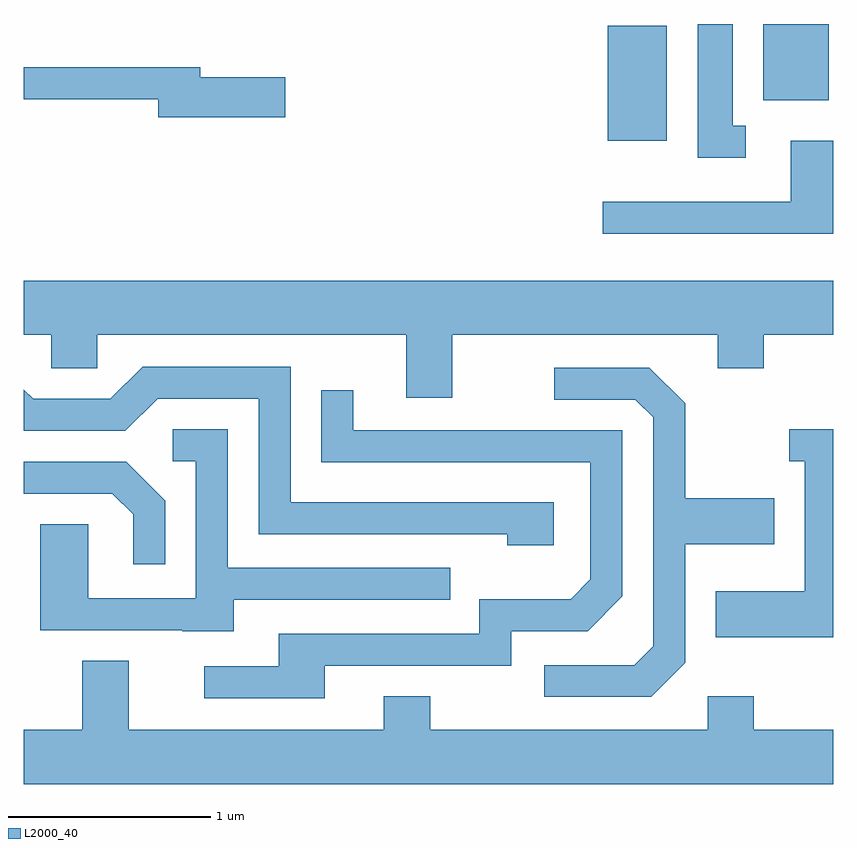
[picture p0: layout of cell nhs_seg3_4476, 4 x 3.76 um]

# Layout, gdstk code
import gdstk
lib = gdstk.Library(unit=1e-6, precision=1e-09)
def R(c, l, rs):  # rectangles x0, y0, x1, y1
    for r in rs: c.add(gdstk.rectangle(r[:2], r[2:], *l))
def P(c, l, *ps):  # polygons
    for p in ps: c.add(gdstk.Polygon(p, *l))
L2000_40 = (2000, 40)

nhs_seg3_4476 = lib.new_cell('nhs_seg3_4476')
R(nhs_seg3_4476, L2000_40, [(318.496,1231.316,318.789,1231.884), (319.266,1231.516,319.589,1231.892)])
P(nhs_seg3_4476, L2000_40, [(319.178,1231.389),(319.114,1231.389),(319.114,1231.892),(318.941,1231.892),(318.941,1231.231),(319.178,1231.231)],
  [(316.904,1231.629),(316.484,1231.629),(316.484,1231.679),(315.611,1231.679),(315.611,1231.521),(316.276,1231.521),(316.276,1231.431),(316.904,1231.431)],
  [(319.611,1231.314),(319.401,1231.314),(319.401,1231.014),(318.473,1231.014),(318.473,1230.856),(319.611,1230.856)],
  [(317.729,1230.356),(319.041,1230.356),(319.041,1230.191),(319.269,1230.191),(319.269,1230.356),(319.611,1230.356),(319.611,1230.624),(315.611,1230.624),(315.611,1230.356),(315.746,1230.356),(315.746,1230.191),(315.974,1230.191),(315.974,1230.356),(317.501,1230.356),(317.501,1230.046),(317.729,1230.046)],
  [(318.229,1229.529),(316.929,1229.529),(316.929,1230.199),(316.199,1230.199),(316.039,1230.039),(315.657,1230.039),(315.611,1230.085),(315.611,1229.881),(316.112,1229.881),(316.272,1230.041),(316.771,1230.041),(316.771,1229.371),(318.001,1229.371),(318.001,1229.316),(318.229,1229.316)],
  [(318.879,1228.734),(318.879,1229.321),(319.319,1229.321),(319.319,1229.549),(318.879,1229.549),(318.879,1230.017),(318.702,1230.194),(318.233,1230.194),(318.233,1230.036),(318.634,1230.036),(318.721,1229.949),(318.721,1228.817),(318.629,1228.724),(318.183,1228.724),(318.183,1228.566),(318.712,1228.566)],
  [(317.099,1228.721),(318.019,1228.721),(318.019,1228.891),(318.397,1228.891),(318.569,1229.064),(318.569,1229.884),(317.239,1229.884),(317.239,1230.083),(317.081,1230.083),(317.081,1229.726),(318.411,1229.726),(318.411,1229.147),(318.314,1229.049),(317.861,1229.049),(317.861,1228.879),(316.871,1228.879),(316.871,1228.719),(316.503,1228.719),(316.503,1228.561),(317.099,1228.561)],
  [(316.649,1229.046),(317.718,1229.046),(317.718,1229.204),(316.619,1229.204),(316.619,1229.889),(316.348,1229.889),(316.348,1229.731),(316.461,1229.731),(316.461,1229.054),(315.929,1229.054),(315.929,1229.419),(315.691,1229.419),(315.691,1228.896),(316.395,1228.896),(316.395,1228.891),(316.649,1228.891)],
  [(319.611,1229.889),(319.393,1229.889),(319.393,1229.731),(319.471,1229.731),(319.471,1229.089),(319.031,1229.089),(319.031,1228.861),(319.611,1228.861)],
  [(316.309,1229.537),(316.117,1229.729),(315.611,1229.729),(315.611,1229.571),(316.049,1229.571),(316.151,1229.469),(316.151,1229.223),(316.309,1229.223)],
  [(319.611,1228.404),(319.219,1228.404),(319.219,1228.569),(318.991,1228.569),(318.991,1228.404),(317.619,1228.404),(317.619,1228.569),(317.391,1228.569),(317.391,1228.404),(316.129,1228.404),(316.129,1228.744),(315.901,1228.744),(315.901,1228.404),(315.611,1228.404),(315.611,1228.136),(319.611,1228.136)])

lib.write_gds('nhs_seg3_4476.gds')
